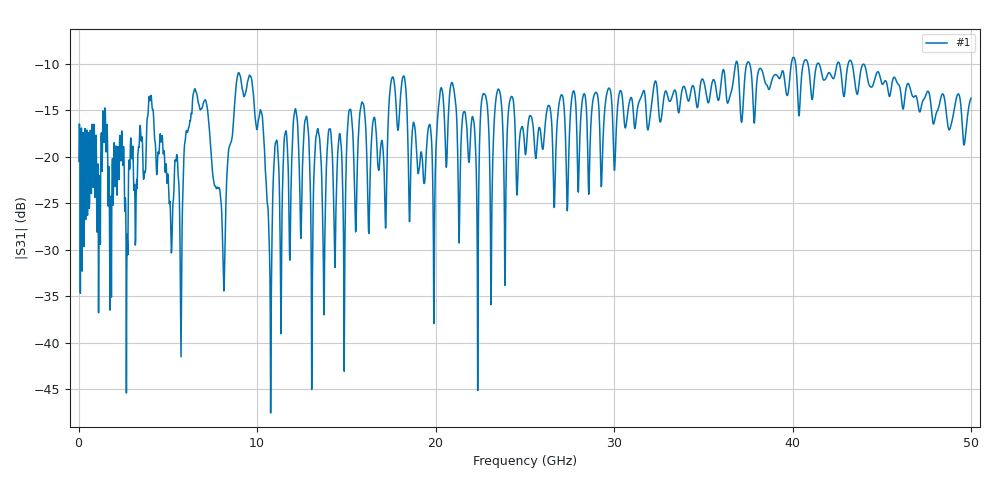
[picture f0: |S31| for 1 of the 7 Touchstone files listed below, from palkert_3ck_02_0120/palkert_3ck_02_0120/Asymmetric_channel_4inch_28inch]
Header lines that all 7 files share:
#	Hz	S	RI	R	50
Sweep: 20 MHz to 50 GHz
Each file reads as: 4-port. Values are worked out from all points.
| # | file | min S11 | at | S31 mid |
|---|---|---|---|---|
| 1 | FEXT_VL5_A4_OD-BP-Channel_4inch_28inch.s4p | -51.4 dB | 16.76 GHz | -19.7 dB at 25.02 GHz |
| 2 | FEXT_VL5_A6_OD-BP-Channel_4inch_28inch.s4p | -51.4 dB | 16.76 GHz | -19.7 dB at 25.02 GHz |
| 3 | FEXT_VL5_A7_OD-BP-Channel_4inch_28inch.s4p | -51.4 dB | 16.76 GHz | -19.7 dB at 25.02 GHz |
| 4 | FEXT_VL5_A8_OD-BP-Channel_4inch_28inch.s4p | -51.4 dB | 16.76 GHz | -19.7 dB at 25.02 GHz |
| 5 | FEXT_VL5_A9_OD-BP-Channel_4inch_28inch.s4p | -51.4 dB | 16.76 GHz | -19.7 dB at 25.02 GHz |
| 6 | NEXT_VL5_A1_OD-BP-Channel_4inch_28inch.s4p | -51.4 dB | 16.76 GHz | -19.7 dB at 25.02 GHz |
| 7 | THRU_VL5_OD-BP-Channel_4inch_28inch.s4p | -51.4 dB | 16.76 GHz | -19.7 dB at 25.02 GHz |
